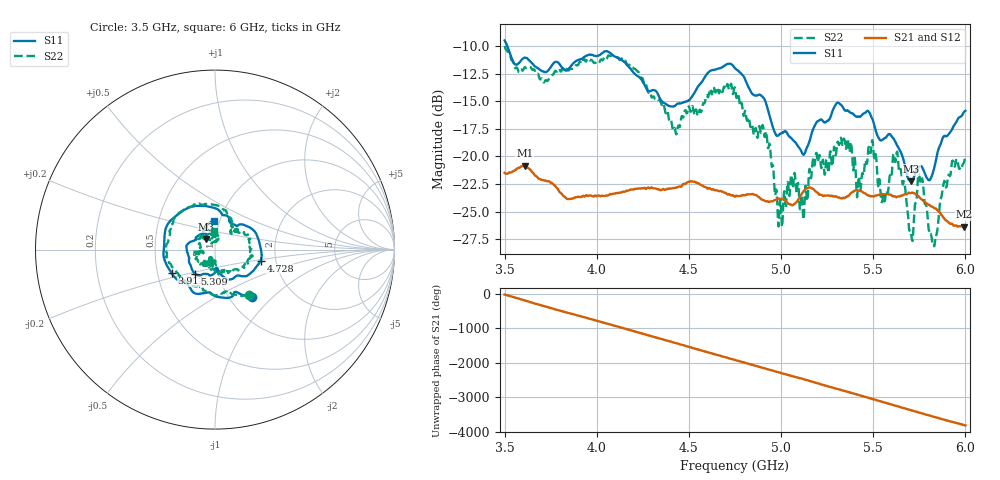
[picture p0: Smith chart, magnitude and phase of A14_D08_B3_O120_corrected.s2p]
! Created with skrf 1.9.0 (http://scikit-rf.org).
# Hz S RI R 50.0
!freq ReS11 ImS11 ReS21 ImS21 ReS12 ImS12 ReS22 ImS22
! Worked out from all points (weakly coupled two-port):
!   1601 points, 3.5 GHz to 6 GHz, reference 50 ohm
!   highest |S21| = -20.84 dB at 3.609 GHz (marker M1); lowest = -26.4 dB at 5.992 GHz (marker M2)
!   lowest |S11| = -22.3 dB at 5.706 GHz (marker M3), VSWR 1.17, Z = 44.9 + j5.3 ohm
!   |S11| at or under -10 dB: 3.514 GHz to end of sweep
!   |S22| runs from -28.1 to -10.0 dB; largest |S21 - S12| = 0.0011
!   S11 on the Smith chart (normalised r, x): 3.5 GHz: 1.27, -0.75; 3.911 GHz: 0.59, -0.17; 4.728 GHz: 1.67, -0.22; 5.309 GHz: 0.77, -0.22; 6 GHz: 0.94, +0.31
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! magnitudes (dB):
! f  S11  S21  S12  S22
! 3.5 GHz  -9.5  -21.5  -21.5  -10.0
! 3.609 GHz  -11.1  -20.8  -20.9  -11.9
! 3.911 GHz  -11.2  -23.7  -23.6  -11.5
! 3.917 GHz  -11.2  -23.7  -23.6  -11.6
! 4.334 GHz  -14.5  -23.0  -22.9  -14.9
! 4.425 GHz  -15.4  -22.9  -22.8  -17.6
! 4.728 GHz  -11.6  -23.5  -23.4  -13.4
! 4.75 GHz  -12.0  -23.6  -23.6  -13.8
! 4.911 GHz  -14.8  -24.0  -24.0  -18.2
! 4.995 GHz  -17.9  -23.8  -23.8  -23.9
! 5.167 GHz  -17.8  -22.9  -22.9  -21.2
! 5.309 GHz  -15.1  -23.7  -23.7  -18.7
! 5.42 GHz  -16.4  -23.1  -23.1  -21.9
! 5.487 GHz  -16.3  -23.6  -23.6  -19.4
! 5.584 GHz  -18.0  -23.4  -23.4  -22.5
! 5.623 GHz  -18.8  -23.7  -23.7  -20.1
! 5.706 GHz  -22.3  -23.3  -23.3  -27.1
! 5.753 GHz  -20.9  -23.7  -23.7  -22.1
! 5.83 GHz  -21.1  -24.7  -24.6  -28.1
! 5.88 GHz  -18.2  -25.5  -25.5  -22.7
! 5.992 GHz  -16.0  -26.4  -26.3  -20.5
! 6 GHz  -15.9  -26.3  -26.3  -19.9
